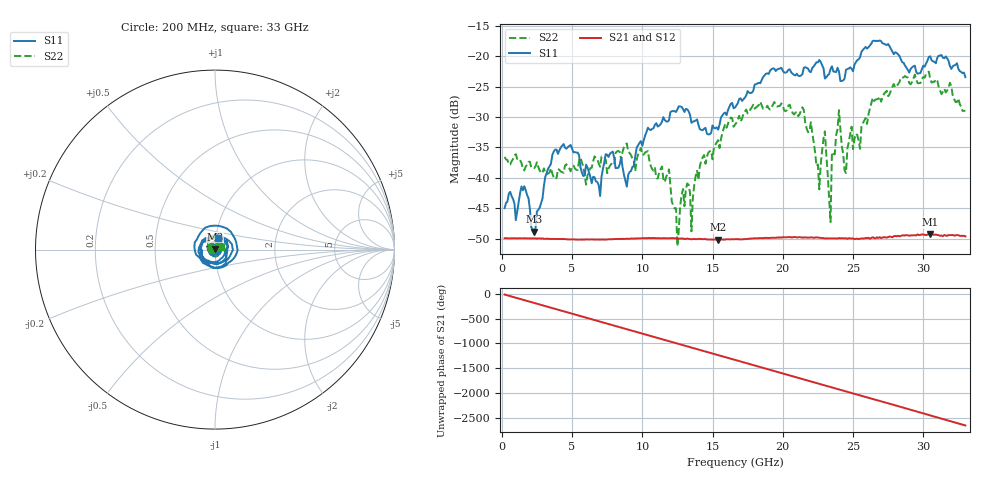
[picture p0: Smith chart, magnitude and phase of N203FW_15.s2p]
# GHZ S RI R 50
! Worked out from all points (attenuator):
!   329 points, 200 MHz to 33 GHz, reference 50 ohm
!   highest |S21| = -49.26 dB at 30.5 GHz (marker M1); lowest = -50.2 dB at 15.4 GHz (marker M2)
!   lowest |S11| = -48.8 dB at 2.3 GHz (marker M3), VSWR 1.01, Z = 50.1 + j0.353 ohm
!   |S11| at or under -10 dB: start of sweep to end of sweep
!   |S22| runs from -51.2 to -22.5 dB; largest |S21 - S12| = 8.9e-05
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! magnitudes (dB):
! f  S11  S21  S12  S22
! 200 MHz  -45.0  -49.9  -49.9  -36.6
! 2.3 GHz  -48.8  -50.0  -50.0  -38.4
! 3.8 GHz  -35.4  -50.1  -50.0  -40.2
! 5.7 GHz  -39.2  -50.1  -50.1  -37.4
! 8.9 GHz  -41.5  -50.0  -50.0  -34.4
! 11.2 GHz  -31.4  -49.9  -49.9  -39.2
! 11.9 GHz  -30.5  -50.0  -49.9  -38.6
! 12.5 GHz  -28.7  -50.0  -50.0  -51.2
! 12.9 GHz  -28.7  -50.0  -50.0  -41.9
! 13.5 GHz  -31.0  -50.1  -50.1  -48.8
! 15.4 GHz  -32.1  -50.2  -50.2  -33.8
! 16.6 GHz  -28.4  -50.1  -50.1  -31.3
! 22.1 GHz  -21.9  -49.8  -49.8  -32.7
! 22.6 GHz  -20.6  -49.9  -49.9  -41.9
! 23 GHz  -23.7  -50.0  -50.0  -32.4
! 23.4 GHz  -22.1  -50.0  -50.0  -47.3
! 23.5 GHz  -21.6  -50.0  -49.9  -35.8
! 24 GHz  -22.5  -49.9  -49.9  -28.9
! 24.5 GHz  -22.2  -49.9  -49.9  -39.2
! 27.6 GHz  -18.4  -49.7  -49.7  -26.3
! 30.5 GHz  -20.0  -49.3  -49.4  -23.8
! 33 GHz  -23.4  -49.6  -49.7  -29.0
